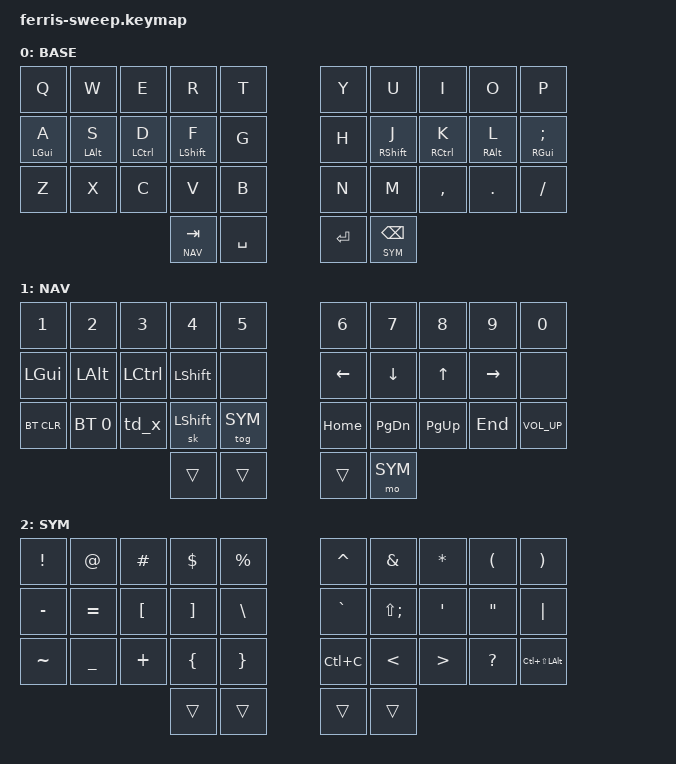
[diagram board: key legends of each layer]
/*
 * Ferris Sweep, home-row mods (hand written for tests)
 */
#include <behaviors.dtsi>
#include <dt-bindings/zmk/keys.h>
#include <dt-bindings/zmk/bt.h>

#define BASE 0
#define NAV  1
#define SYM  2

/ {
    behaviors {
        // home-row mod: hold = modifier, tap = letter
        hm: homerow_mods {
            compatible = "zmk,behavior-hold-tap";
            #binding-cells = <2>;
            flavor = "balanced";
            tapping-term-ms = <220>;
            quick-tap-ms = <175>;
            bindings = <&kp>, <&kp>;
        };

        mt_layer: layer_hold_tap {
            compatible = "zmk,behavior-hold-tap";
            #binding-cells = <2>;
            flavor = "tap-preferred";
            tapping-term-ms = <200>;
            bindings = <&mo>, <&kp>;
        };

        td_x: tap_dance_x {
            compatible = "zmk,behavior-tap-dance";
            #binding-cells = <0>;
            tapping-term-ms = <200>;
            bindings = <&kp X>, <&kp Y>;
        };
    };

    combos {
        compatible = "zmk,combos";
        combo_esc {
            timeout-ms = <40>;
            key-positions = <0 1>;
            bindings = <&kp ESC>;
        };
    };

    keymap {
        compatible = "zmk,keymap";

        base_layer {
            label = "BASE";
            bindings = <
&kp Q     &kp W     &kp E     &kp R     &kp T       &kp Y  &kp U     &kp I     &kp O     &kp P
&hm LGUI A &hm LALT S &hm LCTRL D &hm LSHFT F &kp G   &kp H  &hm RSHFT J &hm RCTRL K &hm RALT L &hm RGUI SEMI
&kp Z     &kp X     &kp C     &kp V     &kp B       &kp N  &kp M     &kp COMMA &kp DOT   &kp FSLH
                    &lt NAV TAB &kp SPACE           &kp RET &lt SYM BSPC
            >;
        };

        nav_layer {
            label = "NAV";
            bindings = <
&kp N1    &kp N2    &kp N3    &kp N4    &kp N5      &kp N6 &kp N7    &kp N8    &kp N9    &kp N0
&kp LGUI  &kp LALT  &kp LCTRL &kp LSHIFT &none      &kp LEFT &kp DOWN &kp UP    &kp RIGHT &none
&bt BT_CLR &bt BT_SEL 0 &td_x &sk LSHFT &tog SYM    &kp HOME &kp PG_DN &kp PG_UP &kp END  &kp C_VOL_UP
                    &trans    &trans                &trans &mo SYM
            >;
        };

        sym_layer {
            label = "SYM";
            bindings = <
&kp EXCL  &kp AT    &kp HASH  &kp DLLR  &kp PRCNT   &kp CARET &kp AMPS &kp STAR  &kp LPAR  &kp RPAR
&kp MINUS &kp EQUAL &kp LBKT  &kp RBKT  &kp BSLH    &kp GRAVE &kp LS(SEMI) &kp SQT &kp DQT &kp PIPE
&kp TILDE &kp UNDER &kp PLUS  &kp LBRC  &kp RBRC    &kp LC(C) &kp LT  &kp GT    &kp QMARK &kp LC(LS(LALT))
                    &trans    &trans                &trans &trans
            >;
        };
    };
};
